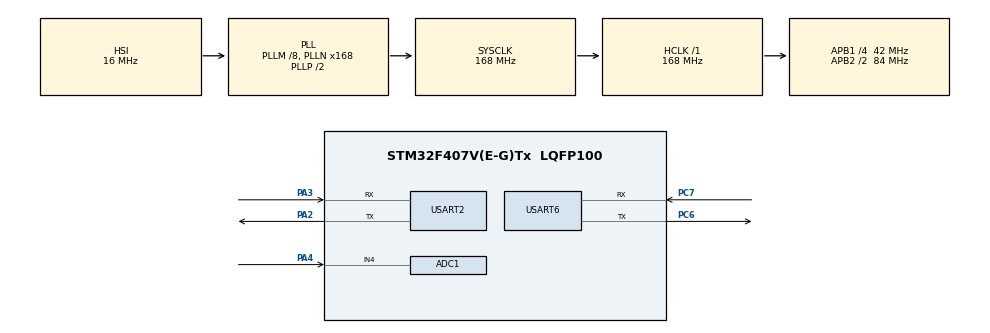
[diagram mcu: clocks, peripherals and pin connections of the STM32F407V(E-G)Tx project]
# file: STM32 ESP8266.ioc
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ADC1.Channel-0\#ChannelRegularConversion=ADC_CHANNEL_4
ADC1.ContinuousConvMode=ENABLE
ADC1.InjNumberOfConversion=0
ADC1.NbrOfConversionFlag=1
ADC1.Rank-0\#ChannelRegularConversion=1
ADC1.Resolution=ADC_RESOLUTION_10B
ADC1.SamplingTime-0\#ChannelRegularConversion=ADC_SAMPLETIME_3CYCLES
ADC1.master=1
Mcu.Family=STM32F4
Mcu.Name=STM32F407V(E-G)Tx
Mcu.Package=LQFP100
NVIC.PriorityGroup=NVIC_PRIORITYGROUP_4
PA2.Mode=Asynchronous
PA2.Signal=USART2_TX
PA3.Mode=Asynchronous
PA3.Signal=USART2_RX
PA4.Signal=ADCx_IN4
PC6.Mode=Asynchronous
PC6.Signal=USART6_TX
PC7.Mode=Asynchronous
PC7.Signal=USART6_RX
ProjectManager.HeapSize=0x200
ProjectManager.StackSize=0x400
ProjectManager.TargetToolchain=STM32CubeIDE
RCC.48MHZClocksFreq_Value=84000000
RCC.AHBFreq_Value=168000000
RCC.APB1CLKDivider=RCC_HCLK_DIV4
RCC.APB1Freq_Value=42000000
RCC.APB1TimFreq_Value=84000000
RCC.APB2CLKDivider=RCC_HCLK_DIV2
RCC.APB2Freq_Value=84000000
RCC.APB2TimFreq_Value=168000000
RCC.CortexFreq_Value=168000000
RCC.HCLKFreq_Value=168000000
RCC.HSE_VALUE=25000000
RCC.HSI_VALUE=16000000
RCC.LSE_VALUE=32768
RCC.PLLM=8
RCC.PLLN=168
RCC.SYSCLKFreq_VALUE=168000000
RCC.SYSCLKSource=RCC_SYSCLKSOURCE_PLLCLK
RCC.VCOOutputFreq_Value=336000000
SH.ADCx_IN4.0=ADC1_IN4,IN4
USART2.VirtualMode=VM_ASYNC
USART6.VirtualMode=VM_ASYNC
board=custom

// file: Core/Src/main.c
/* USER CODE BEGIN Header */
/**
  ******************************************************************************
  * @file           : main.c
  * @brief          : Main program body
  ******************************************************************************
  * @attention
  *
  * Copyright (c) 2025 STMicroelectronics.
  * All rights reserved.
  *
  * This software is licensed under terms that can be found in the LICENSE file
  * in the root directory of this software component.
  * If no LICENSE file comes with this software, it is provided AS-IS.
  *
  ******************************************************************************
  */
/* USER CODE END Header */
#include "main.h"

/* USER CODE BEGIN Includes */
#include "ESP8266.h"
/* USER CODE END Includes */

ADC_HandleTypeDef hadc1;
UART_HandleTypeDef huart2;
UART_HandleTypeDef huart6;

void SystemClock_Config(void);
static void MX_GPIO_Init(void);
static void MX_USART2_UART_Init(void);
static void MX_USART6_UART_Init(void);
static void MX_ADC1_Init(void);

/* USER CODE BEGIN 0 */
void CheckConnection(void)
{
	if (ESP8266_INIT() != ESP_OK)
	{
		  printf("ESP8266 Initialize Failed\n");
		  Error_Handler();
	}
	if (ESP8266_CONNECTWIFI("SSID", "Password") != ESP_OK)
	{
	  printf("WiFi Connection Failed\n");
	  Error_Handler();
	}
}
int _write(int file, char *ptr, int len)
{
	HAL_UART_Transmit(&huart2, (uint8_t *)ptr, len, 100);
	return len;
}
char ip_buf[16];
#define API_KEY	"X3YJOT3S6PJ474ZR"
uint8_t adc_value;
/* USER CODE END 0 */

int main(void)
{

  /* MCU Configuration--------------------------------------------------------*/

  /* Reset of all peripherals, Initializes the Flash interface and the Systick. */
  HAL_Init();

  /* Configure the system clock */
  SystemClock_Config();

  /* Initialize all configured peripherals */
  MX_GPIO_Init();
  MX_USART2_UART_Init();
  MX_USART6_UART_Init();
  MX_ADC1_Init();
  /* USER CODE BEGIN 2 */
  CheckConnection();
  /* USER CODE END 2 */

  /* Infinite loop */
  /* USER CODE BEGIN WHILE */
  while (1)
  {
	  HAL_ADC_Start(&hadc1);
	  HAL_ADC_PollForConversion(&hadc1, 100);
	  adc_value = HAL_ADC_GetValue(&hadc1);
	  ESP8266_SENDDATATOCLOUD(API_KEY, adc_value);
	  HAL_ADC_Stop(&hadc1);
	  HAL_Delay(15000);
    /* USER CODE END WHILE */

  }
}

void SystemClock_Config(void)
{
  RCC_OscInitTypeDef RCC_OscInitStruct = {0};
  RCC_ClkInitTypeDef RCC_ClkInitStruct = {0};

  /** Configure the main internal regulator output voltage
  */
  __HAL_RCC_PWR_CLK_ENABLE();
  __HAL_PWR_VOLTAGESCALING_CONFIG(PWR_REGULATOR_VOLTAGE_SCALE1);

  /** Initializes the RCC Oscillators according to the specified parameters
  * in the RCC_OscInitTypeDef structure.
  */
  RCC_OscInitStruct.OscillatorType = RCC_OSCILLATORTYPE_HSI;
  RCC_OscInitStruct.HSIState = RCC_HSI_ON;
  RCC_OscInitStruct.HSICalibrationValue = RCC_HSICALIBRATION_DEFAULT;
  RCC_OscInitStruct.PLL.PLLState = RCC_PLL_ON;
  RCC_OscInitStruct.PLL.PLLSource = RCC_PLLSOURCE_HSI;
  RCC_OscInitStruct.PLL.PLLM = 8;
  RCC_OscInitStruct.PLL.PLLN = 168;
  RCC_OscInitStruct.PLL.PLLP = RCC_PLLP_DIV2;
  RCC_OscInitStruct.PLL.PLLQ = 4;
  if (HAL_RCC_OscConfig(&RCC_OscInitStruct) != HAL_OK)
  {
    Error_Handler();
  }

  /** Initializes the CPU, AHB and APB buses clocks
  */
  RCC_ClkInitStruct.ClockType = RCC_CLOCKTYPE_HCLK|RCC_CLOCKTYPE_SYSCLK
                              |RCC_CLOCKTYPE_PCLK1|RCC_CLOCKTYPE_PCLK2;
  RCC_ClkInitStruct.SYSCLKSource = RCC_SYSCLKSOURCE_PLLCLK;
  RCC_ClkInitStruct.AHBCLKDivider = RCC_SYSCLK_DIV1;
  RCC_ClkInitStruct.APB1CLKDivider = RCC_HCLK_DIV4;
  RCC_ClkInitStruct.APB2CLKDivider = RCC_HCLK_DIV2;

  if (HAL_RCC_ClockConfig(&RCC_ClkInitStruct, FLASH_LATENCY_5) != HAL_OK)
  {
    Error_Handler();
  }
}

static void MX_ADC1_Init(void)
{

  ADC_ChannelConfTypeDef sConfig = {0};

  /** Configure the global features of the ADC (Clock, Resolution, Data Alignment and number of conversion)
  */
  hadc1.Instance = ADC1;
  hadc1.Init.ClockPrescaler = ADC_CLOCK_SYNC_PCLK_DIV4;
  hadc1.Init.Resolution = ADC_RESOLUTION_10B;
  hadc1.Init.ScanConvMode = DISABLE;
  hadc1.Init.ContinuousConvMode = ENABLE;
  hadc1.Init.DiscontinuousConvMode = DISABLE;
  hadc1.Init.ExternalTrigConvEdge = ADC_EXTERNALTRIGCONVEDGE_NONE;
  hadc1.Init.ExternalTrigConv = ADC_SOFTWARE_START;
  hadc1.Init.DataAlign = ADC_DATAALIGN_RIGHT;
  hadc1.Init.NbrOfConversion = 1;
  hadc1.Init.DMAContinuousRequests = DISABLE;
  hadc1.Init.EOCSelection = ADC_EOC_SINGLE_CONV;
  if (HAL_ADC_Init(&hadc1) != HAL_OK)
  {
    Error_Handler();
  }

  /** Configure for the selected ADC regular channel its corresponding rank in the sequencer and its sample time.
  */
  sConfig.Channel = ADC_CHANNEL_4;
  sConfig.Rank = 1;
  sConfig.SamplingTime = ADC_SAMPLETIME_3CYCLES;
  if (HAL_ADC_ConfigChannel(&hadc1, &sConfig) != HAL_OK)
  {
    Error_Handler();
  }

}

static void MX_USART2_UART_Init(void)
{

  huart2.Instance = USART2;
  huart2.Init.BaudRate = 115200;
  huart2.Init.WordLength = UART_WORDLENGTH_8B;
  huart2.Init.StopBits = UART_STOPBITS_1;
  huart2.Init.Parity = UART_PARITY_NONE;
  huart2.Init.Mode = UART_MODE_TX_RX;
  huart2.Init.HwFlowCtl = UART_HWCONTROL_NONE;
  huart2.Init.OverSampling = UART_OVERSAMPLING_16;
  if (HAL_UART_Init(&huart2) != HAL_OK)
  {
    Error_Handler();
  }

}

static void MX_USART6_UART_Init(void)
{

  huart6.Instance = USART6;
  huart6.Init.BaudRate = 115200;
  huart6.Init.WordLength = UART_WORDLENGTH_8B;
  huart6.Init.StopBits = UART_STOPBITS_1;
  huart6.Init.Parity = UART_PARITY_NONE;
  huart6.Init.Mode = UART_MODE_TX_RX;
  huart6.Init.HwFlowCtl = UART_HWCONTROL_NONE;
  huart6.Init.OverSampling = UART_OVERSAMPLING_16;
  if (HAL_UART_Init(&huart6) != HAL_OK)
  {
    Error_Handler();
  }

}

static void MX_GPIO_Init(void)
{

  /* GPIO Ports Clock Enable */
  __HAL_RCC_GPIOA_CLK_ENABLE();
  __HAL_RCC_GPIOC_CLK_ENABLE();

}

void Error_Handler(void)
{
  __disable_irq();
  while (1)
  {
  }
}
